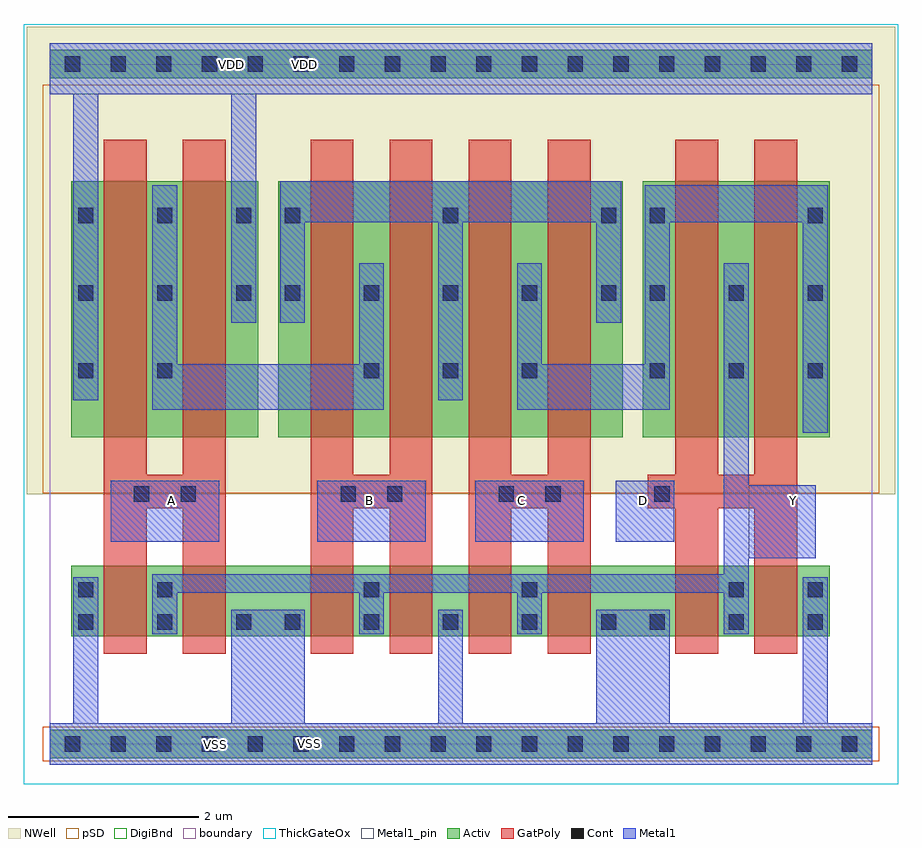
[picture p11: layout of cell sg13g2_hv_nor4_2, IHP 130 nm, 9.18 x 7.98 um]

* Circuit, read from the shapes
.subckt sg13g2_hv_nor4_2 A B C D VDD VSS Y
XM1 Y A VSS VSS sg13_hv_nmos w=0.74u l=0.45u m=2
XM2 Y B VSS VSS sg13_hv_nmos w=0.74u l=0.45u m=2
XM3 Y C VSS VSS sg13_hv_nmos w=0.74u l=0.45u m=2
XM4 Y D VSS VSS sg13_hv_nmos w=0.74u l=0.45u m=2
XM5 n1 A VDD VDD sg13_hv_pmos w=2.69u l=0.45u m=2
XM6 n1 B n2 VDD sg13_hv_pmos w=2.69u l=0.45u m=2
XM7 n3 C n2 VDD sg13_hv_pmos w=2.69u l=0.45u m=2
XM8 Y D n3 VDD sg13_hv_pmos w=2.69u l=0.45u m=2
.ends

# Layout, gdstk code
import gdstk
lib = gdstk.Library(unit=1e-6, precision=1e-09)
def R(c, l, rs):  # rectangles x0, y0, x1, y1
    for r in rs: c.add(gdstk.rectangle(r[:2], r[2:], *l))
def A(c, l, x, y, w, h, nx, ny, dx, dy):  # array of equal rectangles
    R(c, l, [(x+i*dx, y+j*dy, x+i*dx+w, y+j*dy+h) for i in range(nx) for j in range(ny)])
def P(c, l, *ps):  # polygons
    for p in ps: c.add(gdstk.Polygon(p, *l))
Activ = (1, 0)
GatPoly = (5, 0)
Cont = (6, 0)
Metal1 = (8, 0)
Metal1_pin = (8, 2)
pSD = (14, 0)
DigiBnd = (16, 0)
NWell = (31, 0)
ThickGateOx = (44, 0)
boundary = (189, 4)

sg13g2_hv_nor4_2 = lib.new_cell('sg13g2_hv_nor4_2')
R(sg13g2_hv_nor4_2, Activ, [(0,-0.15,8.64,0.15), (0.225,1.13,8.19,1.87), (0.225,3.22,2.19,5.91), (2.4,3.22,6.02,5.91), (6.23,3.22,8.19,5.91), (0,6.99,8.64,7.29)])
P(sg13g2_hv_nor4_2, GatPoly, [(0.57,0.95),(0.57,6.345),(1.02,6.345),(1.02,2.825),(1.4,2.825),(1.4,6.345),(1.85,6.345),(1.85,0.95),(1.4,0.95),(1.4,2.475),(1.02,2.475),(1.02,0.95)],
  [(2.74,0.95),(2.74,6.345),(3.19,6.345),(3.19,2.825),(3.57,2.825),(3.57,6.345),(4.02,6.345),(4.02,0.95),(3.57,0.95),(3.57,2.475),(3.19,2.475),(3.19,0.95)],
  [(4.4,0.95),(4.4,6.345),(4.85,6.345),(4.85,2.825),(5.23,2.825),(5.23,6.345),(5.68,6.345),(5.68,0.95),(5.23,0.95),(5.23,2.475),(4.85,2.475),(4.85,0.95)],
  [(6.57,0.95),(6.57,2.475),(6.28,2.475),(6.28,2.825),(6.57,2.825),(6.57,6.345),(7.02,6.345),(7.02,2.825),(7.4,2.825),(7.4,6.345),(7.85,6.345),(7.85,0.95),(7.4,0.95),(7.4,2.475),(7.02,2.475),(7.02,0.95)])
A(sg13g2_hv_nor4_2, Cont, 0.16, -0.08, 0.16, 0.16, 18, 2, 0.48, 7.14)
A(sg13g2_hv_nor4_2, Cont, 0.3, 1.2, 0.16, 0.16, 3, 2, 0.83, 3.455)
A(sg13g2_hv_nor4_2, Cont, 2.47, 1.2, 0.16, 0.16, 5, 2, 0.83, 3.455)
A(sg13g2_hv_nor4_2, Cont, 6.3, 1.2, 0.16, 0.16, 3, 2, 0.83, 2.64)
A(sg13g2_hv_nor4_2, Cont, 3.3, 3.84, 0.16, 0.16, 3, 1, 0.83, 0)
A(sg13g2_hv_nor4_2, Cont, 6.3, 4.655, 0.16, 0.16, 3, 1, 0.83, 0)
A(sg13g2_hv_nor4_2, Cont, 0.3, 5.47, 0.16, 0.16, 3, 1, 0.83, 0)
A(sg13g2_hv_nor4_2, Cont, 2.47, 5.47, 0.16, 0.16, 3, 1, 1.66, 0)
R(sg13g2_hv_nor4_2, Cont, [(0.3,1.54,0.46,1.7), (1.13,1.54,1.29,1.7), (3.3,1.54,3.46,1.7), (4.96,1.54,5.12,1.7), (7.13,1.54,7.29,1.7), (7.96,1.54,8.12,1.7), (0.885,2.545,1.045,2.705), (1.375,2.545,1.535,2.705), (3.055,2.545,3.215,2.705), (3.545,2.545,3.705,2.705), (4.715,2.545,4.875,2.705), (5.205,2.545,5.365,2.705), (6.35,2.545,6.51,2.705), (0.3,3.84,0.46,4), (1.13,3.84,1.29,4), (6.3,5.47,6.46,5.63), (7.96,5.47,8.12,5.63)])
R(sg13g2_hv_nor4_2, Metal1, [(7.34,1.95,8.045,2.715), (0.64,2.125,1.78,2.765), (2.81,2.125,3.95,2.765), (4.47,2.125,5.61,2.765), (5.945,2.125,6.56,2.765)])
P(sg13g2_hv_nor4_2, Metal1, [(1.08,1.15),(1.08,1.78),(7.08,1.78),(7.08,5.05),(7.34,5.05),(7.34,1.15),(7.08,1.15),(7.08,1.59),(5.17,1.59),(5.17,1.15),(4.91,1.15),(4.91,1.59),(3.51,1.59),(3.51,1.15),(3.25,1.15),(3.25,1.59),(1.34,1.59),(1.34,1.15)],
  [(1.08,3.51),(1.08,5.865),(1.34,5.865),(1.34,3.99),(3.25,3.99),(3.25,5.05),(3.51,5.05),(3.51,3.51)],
  [(4.08,3.61),(4.08,5.48),(2.68,5.48),(2.68,4.425),(2.42,4.425),(2.42,5.91),(6,5.91),(6,4.425),(5.74,4.425),(5.74,5.48),(4.34,5.48),(4.34,3.61)],
  [(0,-0.22),(0,0.22),(0.25,0.22),(0.25,1.75),(0.51,1.75),(0.51,0.22),(1.91,0.22),(1.91,1.41),(2.68,1.41),(2.68,0.22),(4.08,0.22),(4.08,1.41),(4.34,1.41),(4.34,0.22),(5.74,0.22),(5.74,1.41),(6.51,1.41),(6.51,0.22),(7.91,0.22),(7.91,1.75),(8.17,1.75),(8.17,0.22),(8.64,0.22),(8.64,-0.22)],
  [(0.25,3.61),(0.25,6.825),(0,6.825),(0,7.36),(8.64,7.36),(8.64,6.825),(2.17,6.825),(2.17,4.425),(1.91,4.425),(1.91,6.825),(0.51,6.825),(0.51,3.61)],
  [(7.91,3.27),(7.91,5.48),(6.51,5.48),(6.51,3.51),(4.91,3.51),(4.91,5.05),(5.17,5.05),(5.17,3.99),(6.25,3.99),(6.25,5.865),(8.17,5.865),(8.17,3.27)])
R(sg13g2_hv_nor4_2, Metal1_pin, [(0,-0.22,8.64,0.22), (7.34,1.95,8.045,2.715), (0.64,2.125,1.78,2.765), (2.81,2.125,3.95,2.765), (4.47,2.125,5.61,2.765), (5.945,2.125,6.56,2.765), (0,6.825,8.64,7.36)])
R(sg13g2_hv_nor4_2, pSD, [(-0.07,-0.18,8.71,0.18), (-0.07,2.635,8.71,6.92)])
R(sg13g2_hv_nor4_2, DigiBnd, [(0,0,8.64,7.14)])
R(sg13g2_hv_nor4_2, NWell, [(-0.24,2.625,8.88,7.53)])
R(sg13g2_hv_nor4_2, ThickGateOx, [(-0.27,-0.42,8.91,7.56)])
R(sg13g2_hv_nor4_2, boundary, [(0,0,8.64,7.14)])
sg13g2_hv_nor4_2.add(gdstk.Label('Y', (7.815,2.555), layer=8, texttype=25))
sg13g2_hv_nor4_2.add(gdstk.Label('VSS', (1.745,0), layer=8, texttype=25))
sg13g2_hv_nor4_2.add(gdstk.Label('D', (6.24,2.555), layer=8, texttype=25))
sg13g2_hv_nor4_2.add(gdstk.Label('VDD', (2.68,7.135), layer=8, texttype=25))
sg13g2_hv_nor4_2.add(gdstk.Label('B', (3.36,2.555), layer=8, texttype=25))
sg13g2_hv_nor4_2.add(gdstk.Label('A', (1.28,2.555), layer=8, texttype=25))
sg13g2_hv_nor4_2.add(gdstk.Label('VDD', (1.915,7.14), layer=8, texttype=25))
sg13g2_hv_nor4_2.add(gdstk.Label('VSS', (2.725,0.005), layer=8, texttype=25))
sg13g2_hv_nor4_2.add(gdstk.Label('C', (4.96,2.555), layer=8, texttype=25))

lib.write_gds('sg13g2_hv_nor4_2.gds')
